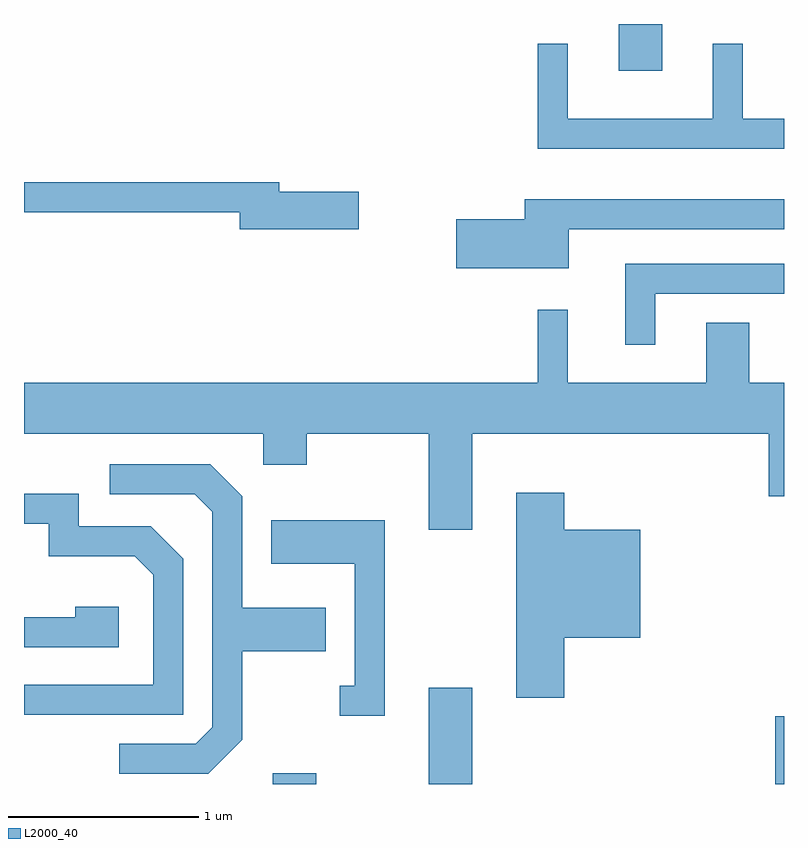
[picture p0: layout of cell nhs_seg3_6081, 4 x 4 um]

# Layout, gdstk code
import gdstk
lib = gdstk.Library(unit=1e-6, precision=1e-09)
def R(c, l, rs):  # rectangles x0, y0, x1, y1
    for r in rs: c.add(gdstk.rectangle(r[:2], r[2:], *l))
def P(c, l, *ps):  # polygons
    for p in ps: c.add(gdstk.Polygon(p, *l))
L2000_40 = (2000, 40)

nhs_seg3_6081 = lib.new_cell('nhs_seg3_6081')
R(nhs_seg3_6081, L2000_40, [(364.921,1181.892,365.149,1181.949), (365.741,1181.892,365.969,1182.399), (367.566,1181.892,367.611,1182.248), (366.741,1185.646,366.969,1185.892)])
P(nhs_seg3_6081, L2000_40, [(367.611,1185.394),(367.394,1185.394),(367.394,1185.788),(367.236,1185.788),(367.236,1185.394),(366.474,1185.394),(366.474,1185.788),(366.316,1185.788),(366.316,1185.236),(367.611,1185.236)],
  [(365.374,1185.009),(364.954,1185.009),(364.954,1185.059),(363.611,1185.059),(363.611,1184.901),(364.746,1184.901),(364.746,1184.811),(365.374,1184.811)],
  [(366.479,1184.811),(367.611,1184.811),(367.611,1184.969),(366.246,1184.969),(366.246,1184.864),(365.886,1184.864),(365.886,1184.606),(366.479,1184.606)],
  [(366.934,1184.471),(367.611,1184.471),(367.611,1184.629),(366.776,1184.629),(366.776,1184.203),(366.934,1184.203)],
  [(365.969,1183.736),(367.531,1183.736),(367.531,1183.406),(367.611,1183.406),(367.611,1184.004),(367.429,1184.004),(367.429,1184.319),(367.201,1184.319),(367.201,1184.004),(366.474,1184.004),(366.474,1184.388),(366.316,1184.388),(366.316,1184.004),(363.611,1184.004),(363.611,1183.736),(364.871,1183.736),(364.871,1183.571),(365.099,1183.571),(365.099,1183.736),(365.741,1183.736),(365.741,1183.231),(365.969,1183.231)],
  [(364.759,1182.124),(364.759,1182.591),(365.199,1182.591),(365.199,1182.819),(364.759,1182.819),(364.759,1183.407),(364.592,1183.574),(364.063,1183.574),(364.063,1183.416),(364.509,1183.416),(364.601,1183.324),(364.601,1182.192),(364.514,1182.104),(364.113,1182.104),(364.113,1181.946),(364.582,1181.946)],
  [(366.454,1182.661),(366.854,1182.661),(366.854,1183.229),(366.454,1183.229),(366.454,1183.424),(366.201,1183.424),(366.201,1182.346),(366.454,1182.346)],
  [(364.449,1183.077),(364.277,1183.249),(363.899,1183.249),(363.899,1183.419),(363.611,1183.419),(363.611,1183.261),(363.741,1183.261),(363.741,1183.091),(364.194,1183.091),(364.291,1182.994),(364.291,1182.414),(363.611,1182.414),(363.611,1182.256),(364.449,1182.256)],
  [(365.509,1183.279),(364.911,1183.279),(364.911,1183.051),(365.351,1183.051),(365.351,1182.409),(365.273,1182.409),(365.273,1182.251),(365.509,1182.251)],
  [(364.109,1182.824),(363.881,1182.824),(363.881,1182.769),(363.611,1182.769),(363.611,1182.611),(364.109,1182.611)])

lib.write_gds('nhs_seg3_6081.gds')
